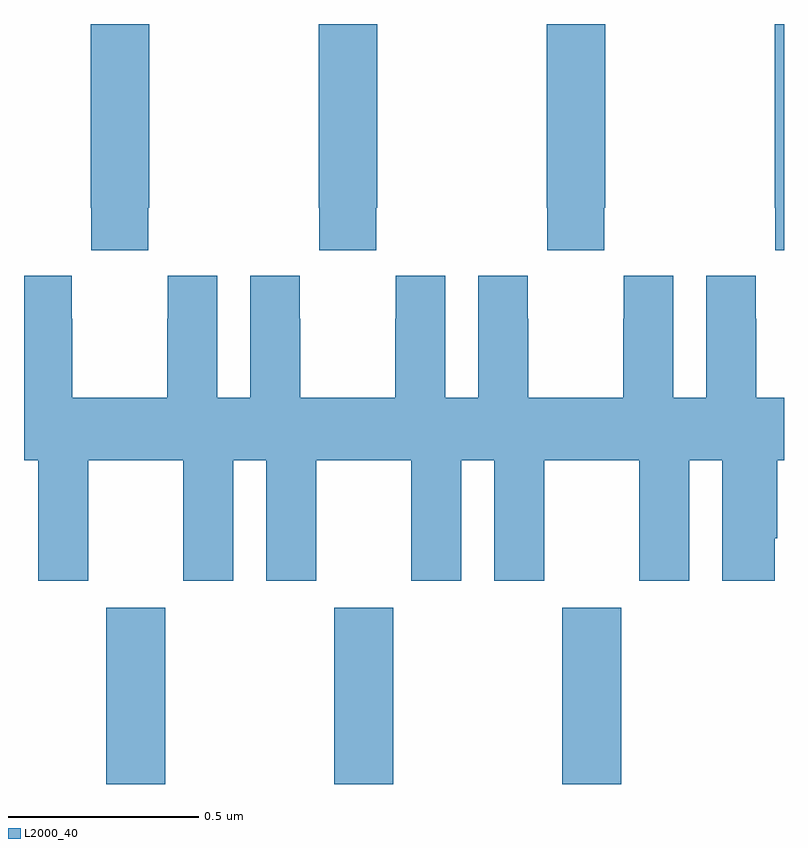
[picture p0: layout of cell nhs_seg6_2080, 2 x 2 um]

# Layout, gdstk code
import gdstk
lib = gdstk.Library(unit=1e-6, precision=1e-09)
def R(c, l, rs):  # rectangles x0, y0, x1, y1
    for r in rs: c.add(gdstk.rectangle(r[:2], r[2:], *l))
def A(c, l, x, y, w, h, nx, ny, dx, dy):  # array of equal rectangles
    R(c, l, [(x+i*dx, y+j*dy, x+i*dx+w, y+j*dy+h) for i in range(nx) for j in range(ny)])
def P(c, l, *ps):  # polygons
    for p in ps: c.add(gdstk.Polygon(p, *l))
L2000_40 = (2000, 40)

nhs_seg6_2080 = lib.new_cell('nhs_seg6_2080')
A(nhs_seg6_2080, L2000_40, 138.217, 930.5, 0.155, 0.464, 3, 1, 0.6, 0)
P(nhs_seg6_2080, L2000_40, [(140,932.5),(139.975,932.5),(139.975,932.017),(139.977,932.017),(139.977,931.905),(140,931.905)],
  [(138.927,932.017),(138.93,932.017),(138.93,932.5),(138.775,932.5),(138.775,932.017),(138.777,932.017),(138.777,931.905),(138.927,931.905)],
  [(138.327,932.017),(138.33,932.017),(138.33,932.5),(138.175,932.5),(138.175,932.017),(138.177,932.017),(138.177,931.905),(138.327,931.905)],
  [(139.527,932.017),(139.53,932.017),(139.53,932.5),(139.375,932.5),(139.375,932.017),(139.377,932.017),(139.377,931.905),(139.527,931.905)],
  [(138.169,931.352),(138.419,931.352),(138.419,931.035),(138.55,931.035),(138.55,931.352),(138.638,931.352),(138.638,931.035),(138.769,931.035),(138.769,931.352),(139.019,931.352),(139.019,931.035),(139.15,931.035),(139.15,931.352),(139.238,931.352),(139.238,931.035),(139.369,931.035),(139.369,931.352),(139.619,931.352),(139.619,931.035),(139.75,931.035),(139.75,931.352),(139.838,931.352),(139.838,931.035),(139.975,931.035),(139.975,931.147),(139.982,931.147),(139.982,931.352),(140,931.352),(140,931.516),(139.927,931.516),(139.927,931.724),(139.926,931.724),(139.926,931.837),(139.796,931.837),(139.796,931.516),(139.708,931.516),(139.708,931.837),(139.578,931.837),(139.578,931.724),(139.577,931.724),(139.577,931.516),(139.327,931.516),(139.327,931.724),(139.326,931.724),(139.326,931.837),(139.196,931.837),(139.196,931.516),(139.108,931.516),(139.108,931.837),(138.978,931.837),(138.978,931.724),(138.977,931.724),(138.977,931.516),(138.727,931.516),(138.727,931.724),(138.726,931.724),(138.726,931.837),(138.596,931.837),(138.596,931.516),(138.508,931.516),(138.508,931.837),(138.378,931.837),(138.378,931.724),(138.377,931.724),(138.377,931.516),(138.127,931.516),(138.127,931.724),(138.126,931.724),(138.126,931.837),(138,931.837),(138,931.352),(138.038,931.352),(138.038,931.035),(138.169,931.035)])

lib.write_gds('nhs_seg6_2080.gds')
